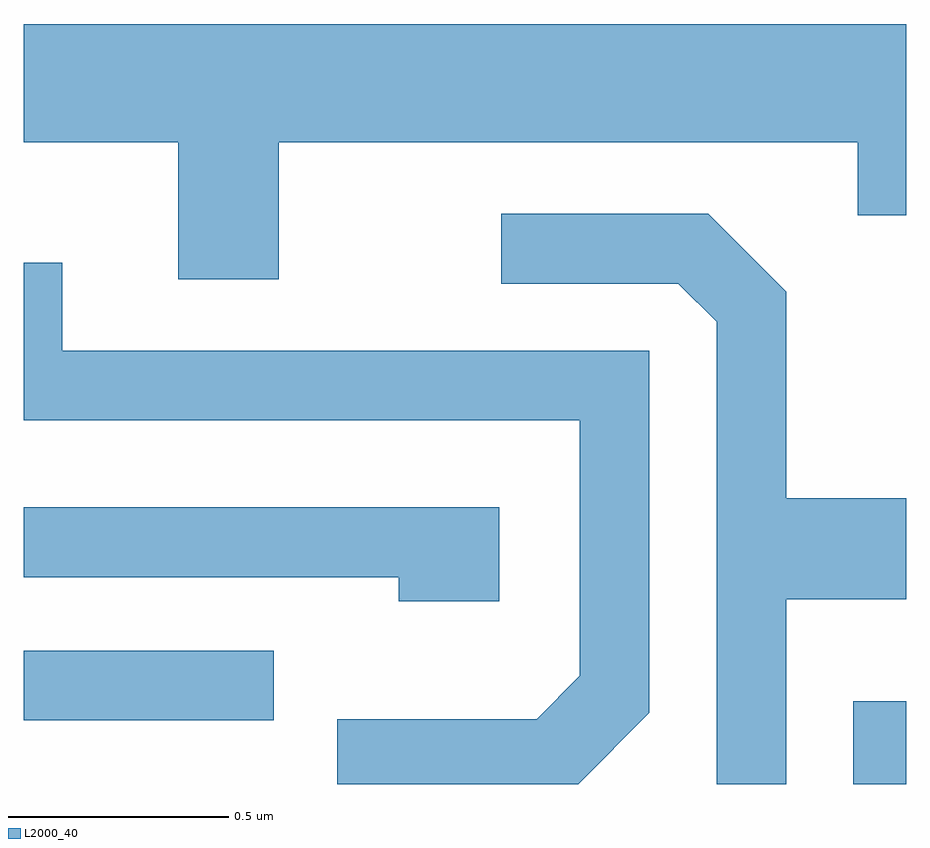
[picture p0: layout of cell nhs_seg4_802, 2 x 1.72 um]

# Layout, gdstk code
import gdstk
lib = gdstk.Library(unit=1e-6, precision=1e-09)
def R(c, l, rs):  # rectangles x0, y0, x1, y1
    for r in rs: c.add(gdstk.rectangle(r[:2], r[2:], *l))
def P(c, l, *ps):  # polygons
    for p in ps: c.add(gdstk.Polygon(p, *l))
L2000_40 = (2000, 40)

nhs_seg4_802 = lib.new_cell('nhs_seg4_802')
R(nhs_seg4_802, L2000_40, [(192.491,1370.982,192.611,1371.169), (190.611,1371.126,191.178,1371.284)])
P(nhs_seg4_802, L2000_40, [(191.189,1372.436),(192.501,1372.436),(192.501,1372.271),(192.611,1372.271),(192.611,1372.704),(190.611,1372.704),(190.611,1372.436),(190.961,1372.436),(190.961,1372.126),(191.189,1372.126)],
  [(192.339,1371.401),(192.611,1371.401),(192.611,1371.629),(192.339,1371.629),(192.339,1372.097),(192.162,1372.274),(191.693,1372.274),(191.693,1372.116),(192.094,1372.116),(192.181,1372.029),(192.181,1370.982),(192.339,1370.982)],
  [(192.029,1371.144),(192.029,1371.964),(190.699,1371.964),(190.699,1372.163),(190.611,1372.163),(190.611,1371.806),(191.871,1371.806),(191.871,1371.227),(191.774,1371.129),(191.321,1371.129),(191.321,1370.982),(191.868,1370.982)],
  [(191.689,1371.609),(190.611,1371.609),(190.611,1371.451),(191.461,1371.451),(191.461,1371.396),(191.689,1371.396)])

lib.write_gds('nhs_seg4_802.gds')
